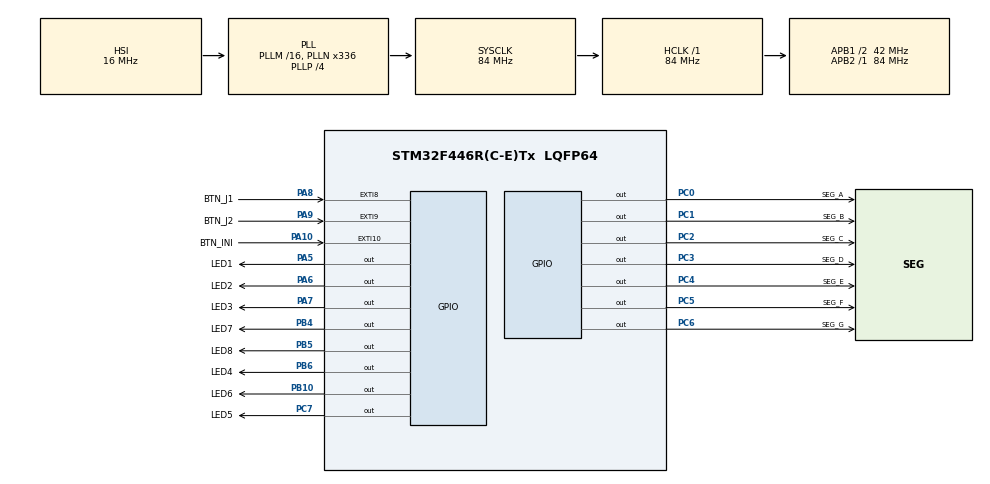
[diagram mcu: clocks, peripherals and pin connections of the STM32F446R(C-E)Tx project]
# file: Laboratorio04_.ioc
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Mcu.Family=STM32F4
Mcu.Name=STM32F446R(C-E)Tx
Mcu.Package=LQFP64
NVIC.EXTI15_10_IRQn=true\:0\:0\:false\:false\:true\:true\:true\:true
NVIC.EXTI9_5_IRQn=true\:0\:0\:false\:false\:true\:true\:true\:true
NVIC.PriorityGroup=NVIC_PRIORITYGROUP_0
PA10.GPIO_Label=BTN_INI
PA10.GPIO_ModeDefaultEXTI=GPIO_MODE_IT_FALLING
PA10.GPIO_PuPd=GPIO_PULLUP
PA10.Signal=GPXTI10
PA13.GPIO_Label=TMS
PA13.Signal=SYS_JTMS-SWDIO
PA14.GPIO_Label=TCK
PA14.Signal=SYS_JTCK-SWCLK
PA2.GPIO_Label=USART_TX
PA2.Signal=USART2_TX
PA3.GPIO_Label=USART_RX
PA3.Signal=USART2_RX
PA5.GPIO_Label=LED1
PA5.Signal=GPIO_Output
PA6.GPIO_Label=LED2
PA6.Signal=GPIO_Output
PA7.GPIO_Label=LED3
PA7.Signal=GPIO_Output
PA8.GPIO_Label=BTN_J1
PA8.GPIO_ModeDefaultEXTI=GPIO_MODE_IT_FALLING
PA8.GPIO_PuPd=GPIO_PULLUP
PA8.Signal=GPXTI8
PA9.GPIO_Label=BTN_J2
PA9.GPIO_ModeDefaultEXTI=GPIO_MODE_IT_FALLING
PA9.GPIO_PuPd=GPIO_PULLUP
PA9.Signal=GPXTI9
PB10.GPIO_Label=LED6
PB10.Signal=GPIO_Output
PB3.GPIO_Label=SWO
PB3.Signal=SYS_JTDO-SWO
PB4.GPIO_Label=LED7
PB4.Signal=GPIO_Output
PB5.GPIO_Label=LED8
PB5.Signal=GPIO_Output
PB6.GPIO_Label=LED4
PB6.Signal=GPIO_Output
PC0.GPIO_Label=SEG_A
PC0.Signal=GPIO_Output
PC1.GPIO_Label=SEG_B
PC1.Signal=GPIO_Output
PC14-OSC32_IN.Signal=RCC_OSC32_IN
PC15-OSC32_OUT.Signal=RCC_OSC32_OUT
PC2.GPIO_Label=SEG_C
PC2.Signal=GPIO_Output
PC3.GPIO_Label=SEG_D
PC3.Signal=GPIO_Output
PC4.GPIO_Label=SEG_E
PC4.Signal=GPIO_Output
PC5.GPIO_Label=SEG_F
PC5.Signal=GPIO_Output
PC6.GPIO_Label=SEG_G
PC6.Signal=GPIO_Output
PC7.GPIO_Label=LED5
PC7.Signal=GPIO_Output
PH0-OSC_IN.Signal=RCC_OSC_IN
PH1-OSC_OUT.Signal=RCC_OSC_OUT
ProjectManager.HeapSize=0x200
ProjectManager.StackSize=0x400
ProjectManager.TargetToolchain=STM32CubeIDE
RCC.AHBFreq_Value=84000000
RCC.APB1CLKDivider=RCC_HCLK_DIV2
RCC.APB1Freq_Value=42000000
RCC.APB1TimFreq_Value=84000000
RCC.APB2Freq_Value=84000000
RCC.APB2TimFreq_Value=84000000
RCC.CortexFreq_Value=84000000
RCC.FLatency-AdvancedSettings=FLASH_LATENCY_2
RCC.HCLKFreq_Value=84000000
RCC.HSE_VALUE=8000000
RCC.HSI_VALUE=16000000
RCC.LSE_VALUE=32768
RCC.PLLN=336
RCC.PLLP=RCC_PLLP_DIV4
RCC.SYSCLKFreq_VALUE=84000000
RCC.SYSCLKSource=RCC_SYSCLKSOURCE_PLLCLK
RCC.USBFreq_Value=168000000
RCC.VCOOutputFreq_Value=336000000
board=NUCLEO-F446RE

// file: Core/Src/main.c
/* USER CODE BEGIN Header */
/**
  ******************************************************************************
  * @file           : main.c
  * @brief          : Main program body
  ******************************************************************************
  * @attention
  *
  * Copyright (c) 2026 STMicroelectronics.
  * All rights reserved.
  *
  * This software is licensed under terms that can be found in the LICENSE file
  * in the root directory of this software component.
  * If no LICENSE file comes with this software, it is provided AS-IS.
  *
  ******************************************************************************
  */
/* USER CODE END Header */
#include "main.h"

/* USER CODE BEGIN Includes */
#include 	<stdbool.h>
#define 	META  4

// Estados del juego
typedef enum {
    START,        // En espera de btn inicio
    COUNTDOWN,   // Cuenta regresiva
    RACING,      // Juego iniciado
    FINISHED     // hay ganador, se bloquea
} GameState;

// Contadores jugadores
volatile uint8_t Conteo_J1 = 0;
volatile uint8_t Conteo_J2 = 0;

volatile	uint8_t	Bandera_BTN_inicio = 0;
volatile	uint8_t	Bandera_BTN_J1 = 0;
volatile	uint8_t	Bandera_BTN_J2 = 0;

volatile GameState ESTADO = START;

// 0 = no ganador | 1 = Jugador 1 | 2 = Jugador 2
volatile uint8_t ganador = 0;

/* USER CODE END Includes */

void SystemClock_Config(void);
static void MX_GPIO_Init(void);
/* USER CODE BEGIN PFP */

void ActualizarLEDs(void);				// Mostrar en leds contador de cada jugador
void displayDigit(uint8_t digito); 		// muestra valor display
void processButtons(void);      		// banderas botones
void iniciarCuentaRegresiva(void);
void declararGanador(uint8_t jugador); 	// detener juego y mostrar ganador

/* USER CODE END PFP */

int main(void)
{

  /* MCU Configuration--------------------------------------------------------*/

  /* Reset of all peripherals, Initializes the Flash interface and the Systick. */
  HAL_Init();

  /* Configure the system clock */
  SystemClock_Config();

  /* Initialize all configured peripherals */
  MX_GPIO_Init();
  /* USER CODE BEGIN 2 */

  displayDigit(0);
  ActualizarLEDs();

  /* USER CODE END 2 */

  /* Infinite loop */
  /* USER CODE BEGIN WHILE */
  while (1)
  {
	  processButtons();
	  switch (ESTADO){

	  	  case START:
	  		  break;

	  	  case COUNTDOWN:
	  		  break;

	  	  case RACING:
	  		  // Verificar si hay ganador
	  		  if (Conteo_J1 >= META){
	  			  declararGanador(1);
	  		  } else if (Conteo_J2 >= META){
	  			  declararGanador(2);
	  		  }
	  		  break;

	  	  case FINISHED:
	  		  // Juego bloqueado
	  		  break;
	  }

	  HAL_Delay(10);
    /* USER CODE END WHILE */

  }
}

void SystemClock_Config(void)
{
  RCC_OscInitTypeDef RCC_OscInitStruct = {0};
  RCC_ClkInitTypeDef RCC_ClkInitStruct = {0};

  /** Configure the main internal regulator output voltage
  */
  __HAL_RCC_PWR_CLK_ENABLE();
  __HAL_PWR_VOLTAGESCALING_CONFIG(PWR_REGULATOR_VOLTAGE_SCALE3);

  /** Initializes the RCC Oscillators according to the specified parameters
  * in the RCC_OscInitTypeDef structure.
  */
  RCC_OscInitStruct.OscillatorType = RCC_OSCILLATORTYPE_HSI;
  RCC_OscInitStruct.HSIState = RCC_HSI_ON;
  RCC_OscInitStruct.HSICalibrationValue = RCC_HSICALIBRATION_DEFAULT;
  RCC_OscInitStruct.PLL.PLLState = RCC_PLL_ON;
  RCC_OscInitStruct.PLL.PLLSource = RCC_PLLSOURCE_HSI;
  RCC_OscInitStruct.PLL.PLLM = 16;
  RCC_OscInitStruct.PLL.PLLN = 336;
  RCC_OscInitStruct.PLL.PLLP = RCC_PLLP_DIV4;
  RCC_OscInitStruct.PLL.PLLQ = 2;
  RCC_OscInitStruct.PLL.PLLR = 2;
  if (HAL_RCC_OscConfig(&RCC_OscInitStruct) != HAL_OK)
  {
    Error_Handler();
  }

  /** Initializes the CPU, AHB and APB buses clocks
  */
  RCC_ClkInitStruct.ClockType = RCC_CLOCKTYPE_HCLK|RCC_CLOCKTYPE_SYSCLK
                              |RCC_CLOCKTYPE_PCLK1|RCC_CLOCKTYPE_PCLK2;
  RCC_ClkInitStruct.SYSCLKSource = RCC_SYSCLKSOURCE_PLLCLK;
  RCC_ClkInitStruct.AHBCLKDivider = RCC_SYSCLK_DIV1;
  RCC_ClkInitStruct.APB1CLKDivider = RCC_HCLK_DIV2;
  RCC_ClkInitStruct.APB2CLKDivider = RCC_HCLK_DIV1;

  if (HAL_RCC_ClockConfig(&RCC_ClkInitStruct, FLASH_LATENCY_2) != HAL_OK)
  {
    Error_Handler();
  }
}

static void MX_GPIO_Init(void)
{
  GPIO_InitTypeDef GPIO_InitStruct = {0};

  /* GPIO Ports Clock Enable */
  __HAL_RCC_GPIOC_CLK_ENABLE();
  __HAL_RCC_GPIOH_CLK_ENABLE();
  __HAL_RCC_GPIOA_CLK_ENABLE();
  __HAL_RCC_GPIOB_CLK_ENABLE();

  /*Configure GPIO pin Output Level */
  HAL_GPIO_WritePin(GPIOC, SEG_A_Pin|SEG_B_Pin|SEG_C_Pin|SEG_D_Pin
                          |SEG_E_Pin|SEG_F_Pin|SEG_G_Pin|LED5_Pin, GPIO_PIN_RESET);

  /*Configure GPIO pin Output Level */
  HAL_GPIO_WritePin(GPIOA, LED1_Pin|LED2_Pin|LED3_Pin, GPIO_PIN_RESET);

  /*Configure GPIO pin Output Level */
  HAL_GPIO_WritePin(GPIOB, LED6_Pin|LED7_Pin|LED8_Pin|LED4_Pin, GPIO_PIN_RESET);

  /*Configure GPIO pins : SEG_A_Pin SEG_B_Pin SEG_C_Pin SEG_D_Pin
                           SEG_E_Pin SEG_F_Pin SEG_G_Pin LED5_Pin */
  GPIO_InitStruct.Pin = SEG_A_Pin|SEG_B_Pin|SEG_C_Pin|SEG_D_Pin
                          |SEG_E_Pin|SEG_F_Pin|SEG_G_Pin|LED5_Pin;
  GPIO_InitStruct.Mode = GPIO_MODE_OUTPUT_PP;
  GPIO_InitStruct.Pull = GPIO_NOPULL;
  GPIO_InitStruct.Speed = GPIO_SPEED_FREQ_LOW;
  HAL_GPIO_Init(GPIOC, &GPIO_InitStruct);

  /*Configure GPIO pins : USART_TX_Pin USART_RX_Pin */
  GPIO_InitStruct.Pin = USART_TX_Pin|USART_RX_Pin;
  GPIO_InitStruct.Mode = GPIO_MODE_AF_PP;
  GPIO_InitStruct.Pull = GPIO_NOPULL;
  GPIO_InitStruct.Speed = GPIO_SPEED_FREQ_VERY_HIGH;
  GPIO_InitStruct.Alternate = GPIO_AF7_USART2;
  HAL_GPIO_Init(GPIOA, &GPIO_InitStruct);

  /*Configure GPIO pins : LED1_Pin LED2_Pin LED3_Pin */
  GPIO_InitStruct.Pin = LED1_Pin|LED2_Pin|LED3_Pin;
  GPIO_InitStruct.Mode = GPIO_MODE_OUTPUT_PP;
  GPIO_InitStruct.Pull = GPIO_NOPULL;
  GPIO_InitStruct.Speed = GPIO_SPEED_FREQ_LOW;
  HAL_GPIO_Init(GPIOA, &GPIO_InitStruct);

  /*Configure GPIO pins : LED6_Pin LED7_Pin LED8_Pin LED4_Pin */
  GPIO_InitStruct.Pin = LED6_Pin|LED7_Pin|LED8_Pin|LED4_Pin;
  GPIO_InitStruct.Mode = GPIO_MODE_OUTPUT_PP;
  GPIO_InitStruct.Pull = GPIO_NOPULL;
  GPIO_InitStruct.Speed = GPIO_SPEED_FREQ_LOW;
  HAL_GPIO_Init(GPIOB, &GPIO_InitStruct);

  /*Configure GPIO pins : BTN_J1_Pin BTN_J2_Pin BTN_INI_Pin */
  GPIO_InitStruct.Pin = BTN_J1_Pin|BTN_J2_Pin|BTN_INI_Pin;
  GPIO_InitStruct.Mode = GPIO_MODE_IT_FALLING;
  GPIO_InitStruct.Pull = GPIO_PULLUP;
  HAL_GPIO_Init(GPIOA, &GPIO_InitStruct);

  /* EXTI interrupt init*/
  HAL_NVIC_SetPriority(EXTI9_5_IRQn, 0, 0);
  HAL_NVIC_EnableIRQ(EXTI9_5_IRQn);

  HAL_NVIC_SetPriority(EXTI15_10_IRQn, 0, 0);
  HAL_NVIC_EnableIRQ(EXTI15_10_IRQn);

}

/* USER CODE BEGIN 4 */

// Activar banderas
void HAL_GPIO_EXTI_Callback(uint16_t GPIO_Pin)
{
    if (GPIO_Pin == BTN_INI_Pin) {
        Bandera_BTN_inicio = 1;

        HAL_NVIC_DisableIRQ(EXTI15_10_IRQn);
    }
    else if (GPIO_Pin == BTN_J1_Pin) {
        Bandera_BTN_J1 = 1;
        HAL_NVIC_DisableIRQ(EXTI9_5_IRQn);

        //if (ESTADO == RACING && Conteo_J1 < META){
        //	Conteo_J1++;
        //	ActualizarLEDs();
        //}
    }
    else if (GPIO_Pin == BTN_J2_Pin) {
        Bandera_BTN_J2 = 1;
        HAL_NVIC_DisableIRQ(EXTI9_5_IRQn);

		//if (ESTADO == RACING && Conteo_J2 < META){
		//	Conteo_J2++;
		//	ActualizarLEDs();
		//}
    }
}

void processButtons(void){
    // Botón INICIO
    if (Bandera_BTN_inicio) {
        Bandera_BTN_inicio = 0;

        HAL_Delay(50);
        if (ESTADO == START) {
            //iniciarCuentaRegresiva();

        	ESTADO = COUNTDOWN;
        	displayDigit(5);
        	HAL_Delay(1000);
        	displayDigit(4);
			HAL_Delay(1000);
			displayDigit(3);
			HAL_Delay(1000);
			displayDigit(2);
			HAL_Delay(1000);
			displayDigit(1);
			HAL_Delay(1000);
			displayDigit(0);
			// Iniciar carrera
			ESTADO = RACING;
			ActualizarLEDs();
        }
        HAL_NVIC_EnableIRQ(EXTI15_10_IRQn);
    }

    // Botón JUGADOR 1
    if (Bandera_BTN_J1) {
        Bandera_BTN_J1 = 0;
        HAL_Delay(50);
        if (ESTADO == RACING && Conteo_J1 < META) {
            Conteo_J1++;
            ActualizarLEDs();
        }
        HAL_NVIC_EnableIRQ(EXTI9_5_IRQn);
    }

    // Botón JUGADOR 2
    if (Bandera_BTN_J2) {
        Bandera_BTN_J2 = 0;
        HAL_Delay(50);
        if (ESTADO == RACING && Conteo_J2 < META) {
            Conteo_J2++;
            ActualizarLEDs();
        }
        HAL_NVIC_EnableIRQ(EXTI9_5_IRQn);
    }
}

void iniciarCuentaRegresiva(void){
    ESTADO = COUNTDOWN;
    for (int i = 5; i >= 0; i--) {
        displayDigit(i);     			// mostrar numero actual
        HAL_Delay(1000);     			// esperar 1 seg
    }
    // Iniciar carrera
    ESTADO = RACING;
    ActualizarLEDs();
}

void displayDigit(uint8_t digito){

	if (digito > 9) digito = 0;

	// Vector de configuración de segmentos - display
    const uint8_t segMap[10] = {
        0b00111111, // 0
        0b00000110, // 1
        0b01011011, // 2
        0b01001111, // 3
        0b01100110, // 4
        0b01101101, // 5
        0b01111101, // 6
        0b00000111, // 7
        0b01111111, // 8
        0b01101111  // 9
    };

    uint8_t mascara = segMap[digito];

    // Primero apagar todos los segmentos
    HAL_GPIO_WritePin(GPIOC, SEG_A_Pin | SEG_B_Pin | SEG_C_Pin | SEG_D_Pin | SEG_E_Pin | SEG_F_Pin | SEG_G_Pin, GPIO_PIN_SET);

    // Segundo mostrar valor recibido
    if (mascara & 0x01) HAL_GPIO_WritePin(GPIOC, SEG_A_Pin, GPIO_PIN_RESET);
    if (mascara & 0x02) HAL_GPIO_WritePin(GPIOC, SEG_B_Pin, GPIO_PIN_RESET);
    if (mascara & 0x04) HAL_GPIO_WritePin(GPIOC, SEG_C_Pin, GPIO_PIN_RESET);
    if (mascara & 0x08) HAL_GPIO_WritePin(GPIOC, SEG_D_Pin, GPIO_PIN_RESET);
    if (mascara & 0x10) HAL_GPIO_WritePin(GPIOC, SEG_E_Pin, GPIO_PIN_RESET);
    if (mascara & 0x20) HAL_GPIO_WritePin(GPIOC, SEG_F_Pin, GPIO_PIN_RESET);
    if (mascara & 0x40) HAL_GPIO_WritePin(GPIOC, SEG_G_Pin, GPIO_PIN_RESET);

}

void ActualizarLEDs(void)
{

	// JUGADOR 1 ====================================================================
	// Apagar leds
	HAL_GPIO_WritePin(GPIOA, LED1_Pin | LED2_Pin | LED3_Pin, GPIO_PIN_SET);
	HAL_GPIO_WritePin(GPIOB, LED4_Pin, GPIO_PIN_SET);
    // LED1 (PA5) enciende
    HAL_GPIO_WritePin(GPIOA, LED1_Pin, (Conteo_J1 == 1) ? GPIO_PIN_SET : GPIO_PIN_RESET);
    // LED2 (PA6) enciende
    HAL_GPIO_WritePin(GPIOA, LED2_Pin, (Conteo_J1 == 2) ? GPIO_PIN_SET : GPIO_PIN_RESET);
    // LED3 (PA7) enciende
    HAL_GPIO_WritePin(GPIOA, LED3_Pin, (Conteo_J1 == 3) ? GPIO_PIN_SET : GPIO_PIN_RESET);
    // LED4 (PB6) enciende
    HAL_GPIO_WritePin(GPIOB, LED4_Pin, (Conteo_J1 == 4) ? GPIO_PIN_SET : GPIO_PIN_RESET);

    // JUGADOR 2 ====================================================================
    // Apagar leds
    HAL_GPIO_WritePin(GPIOC, LED5_Pin, GPIO_PIN_RESET);
    HAL_GPIO_WritePin(GPIOB, LED6_Pin | LED7_Pin | LED8_Pin, GPIO_PIN_RESET);
    // LED5 (PC7) enciende
	HAL_GPIO_WritePin(GPIOC, LED5_Pin, (Conteo_J2 == 1) ? GPIO_PIN_SET : GPIO_PIN_RESET);
	// LED6 (PB10) enciende
	HAL_GPIO_WritePin(GPIOB, LED6_Pin, (Conteo_J2 == 2) ? GPIO_PIN_SET : GPIO_PIN_RESET);
	// LED7 (PB4) enciende
	HAL_GPIO_WritePin(GPIOB, LED7_Pin, (Conteo_J2 == 3) ? GPIO_PIN_SET : GPIO_PIN_RESET);
	// LED8 (PB5) enciende
	HAL_GPIO_WritePin(GPIOB, LED8_Pin, (Conteo_J2 == 4) ? GPIO_PIN_SET : GPIO_PIN_RESET);
}

void declararGanador(uint8_t jugador){
	ganador = jugador;
	ESTADO = FINISHED;

    if (jugador == 1) {
        // Encender leds J1
        HAL_GPIO_WritePin(GPIOA, LED1_Pin | LED2_Pin | LED3_Pin, GPIO_PIN_SET);
        HAL_GPIO_WritePin(GPIOB, LED4_Pin, GPIO_PIN_SET);
        // Apagar leds J2
        HAL_GPIO_WritePin(GPIOC, LED5_Pin, GPIO_PIN_RESET);
        HAL_GPIO_WritePin(GPIOB, LED6_Pin | LED7_Pin | LED8_Pin, GPIO_PIN_RESET);

        displayDigit(1);
    }
    else if (jugador == 2) {
        // Encender leds J2
        HAL_GPIO_WritePin(GPIOC, LED5_Pin, GPIO_PIN_SET);
        HAL_GPIO_WritePin(GPIOB, LED6_Pin | LED7_Pin | LED8_Pin, GPIO_PIN_SET);
        // Apagar leds J2
        HAL_GPIO_WritePin(GPIOA, LED1_Pin | LED2_Pin | LED3_Pin, GPIO_PIN_RESET);
        HAL_GPIO_WritePin(GPIOB, LED4_Pin, GPIO_PIN_RESET);

        displayDigit(2);
    }

    // desactivar interrupciones btns (J1|J2)
    HAL_NVIC_DisableIRQ(EXTI9_5_IRQn);
    HAL_NVIC_DisableIRQ(EXTI15_10_IRQn);
}

/* USER CODE END 4 */

void Error_Handler(void)
{
  __disable_irq();
  while (1)
  {
  }
}
